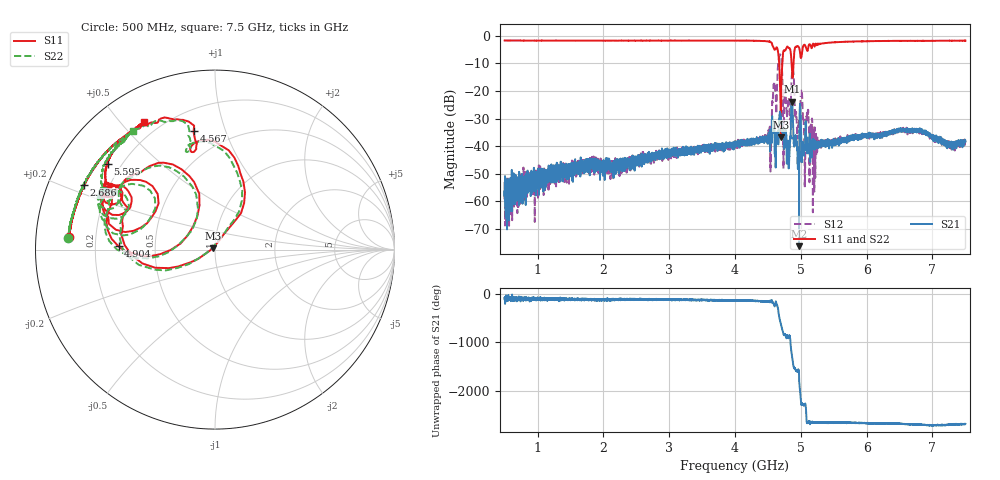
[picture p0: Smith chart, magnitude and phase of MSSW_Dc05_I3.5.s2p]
!Keysight Technologies,M9374A,MY55442783,A.12.55.05
!Date: Wednesday, May 19, 2021 19:15:11
!Correction: S11(Full 2 Port(1,2))
!S21(Full 2 Port(1,2))
!S12(Full 2 Port(1,2))
!S22(Full 2 Port(1,2))
!S2P File: Measurements: S11, S21, S12, S22:
# Hz S  RI  R 50
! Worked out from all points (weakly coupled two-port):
!   7001 points, 500 MHz to 7.5 GHz, reference 50 ohm
!   highest |S21| = -23.94 dB at 4.861 GHz (marker M1); lowest = -76.2 dB at 4.973 GHz (marker M2)
!   lowest |S11| = -36.9 dB at 4.697 GHz (marker M3), VSWR 1.03, Z = 48.8 + j0.762 ohm
!   |S11| at or under -10 dB: 4.671 GHz to 4.718 GHz (47.31 MHz wide, 1.01 % of centre); 4.86 GHz to 4.889 GHz (28.16 MHz wide, 0.578 % of centre)
!   |S22| runs from -35.1 to -1.7 dB; largest |S21 - S12| = 0.42
!   S11 on the Smith chart (normalised r, x): 500 MHz: 0.10, +0.04; 2.686 GHz: 0.11, +0.23; 4.567 GHz: 0.33, +0.78; 4.904 GHz: 0.30, +0.02; 5.595 GHz: 0.15, +0.34; 7.5 GHz: 0.14, +0.58
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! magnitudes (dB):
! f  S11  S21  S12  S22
! 500 MHz  -1.7  -57.7  -53.0  -1.7
! 1.667 GHz  -1.8  -46.6  -47.7  -1.8
! 2.686 GHz  -1.8  -43.7  -44.3  -1.8
! 2.834 GHz  -1.8  -43.5  -43.4  -1.8
! 4 GHz  -1.8  -39.6  -40.4  -1.8
! 4.513 GHz  -2.2  -38.3  -34.0  -2.2
! 4.567 GHz  -3.5  -32.0  -23.9  -3.3
! 4.632 GHz  -4.2  -35.3  -25.1  -4.3
! 4.675 GHz  -11.5  -29.5  -7.3  -11.6
! 4.697 GHz  -36.9  -30.1  -7.4  -33.1
! 4.762 GHz  -5.4  -36.4  -19.7  -5.4
! 4.812 GHz  -4.3  -42.2  -22.5  -4.3
! 4.861 GHz  -10.3  -23.9  -15.1  -10.3
! 4.904 GHz  -5.4  -39.3  -21.8  -5.2
! 4.94 GHz  -3.9  -38.8  -33.3  -3.9
! 4.973 GHz  -4.3  -76.2  -32.1  -4.4
! 5.013 GHz  -7.2  -42.0  -20.0  -7.1
! 5.058 GHz  -3.3  -41.5  -47.7  -3.3
! 5.167 GHz  -4.4  -41.4  -32.5  -4.4
! 5.595 GHz  -2.3  -38.5  -37.3  -2.3
! 6.334 GHz  -1.9  -35.3  -35.2  -2.0
! 7.5 GHz  -1.8  -38.0  -39.0  -1.9
